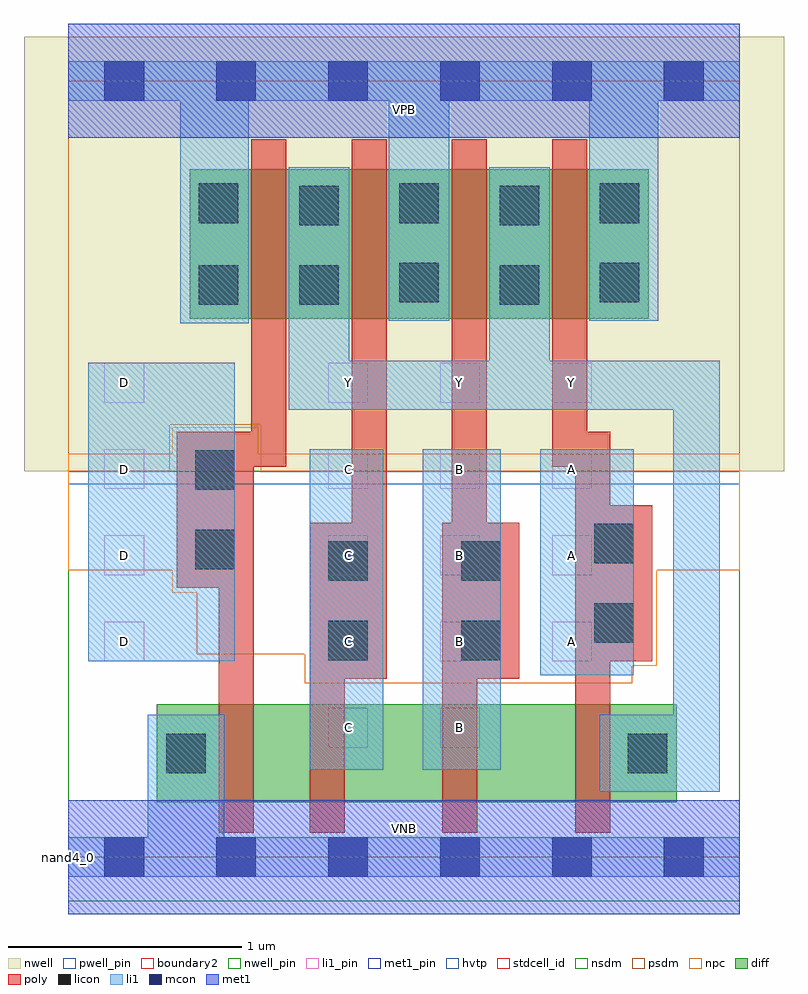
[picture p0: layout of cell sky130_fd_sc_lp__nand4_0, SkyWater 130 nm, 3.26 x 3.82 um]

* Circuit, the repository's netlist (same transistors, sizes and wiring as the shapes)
* Copyright 2020 The SkyWater PDK Authors
*
* Licensed under the Apache License, Version 2.0 (the "License");
* you may not use this file except in compliance with the License.
* You may obtain a copy of the License at
*
*     https://www.apache.org/licenses/LICENSE-2.0
*
* Unless required by applicable law or agreed to in writing, software
* distributed under the License is distributed on an "AS IS" BASIS,
* WITHOUT WARRANTIES OR CONDITIONS OF ANY KIND, either express or implied.
* See the License for the specific language governing permissions and
* limitations under the License.
*
* SPDX-License-Identifier: Apache-2.0

.SUBCKT sky130_fd_sc_lp__nand4_0 A B C D VGND VNB VPB VPWR Y
*.PININFO A:I B:I C:I D:I VGND:I VNB:I VPB:I VPWR:I Y:O
MMP0 Y A VPWR VPB sky130_fd_pr__pfet_01v8_hvt m=1 w=0.64U l=0.15U mult=1 sa=0.265
+ sb=0.265 sd=0.28 area=0.063 perim=1.14
MMP1 Y B VPWR VPB sky130_fd_pr__pfet_01v8_hvt m=1 w=0.64U l=0.15U mult=1 sa=0.265
+ sb=0.265 sd=0.28 area=0.063 perim=1.14
MMP3 Y D VPWR VPB sky130_fd_pr__pfet_01v8_hvt m=1 w=0.64U l=0.15U mult=1 sa=0.265
+ sb=0.265 sd=0.28 area=0.063 perim=1.14
MMP2 Y C VPWR VPB sky130_fd_pr__pfet_01v8_hvt m=1 w=0.64U l=0.15U mult=1 sa=0.265
+ sb=0.265 sd=0.28 area=0.063 perim=1.14
MMN0 Y A sndA VNB sky130_fd_pr__nfet_01v8 m=1 w=0.42U l=0.15U mult=1 sa=0.265 sb=0.265
+ sd=0.28 area=0.063 perim=1.14
MMN1 sndA B sndB VNB sky130_fd_pr__nfet_01v8 m=1 w=0.42U l=0.15U mult=1 sa=0.265
+ sb=0.265 sd=0.28 area=0.063 perim=1.14
MMN2 sndB C sndC VNB sky130_fd_pr__nfet_01v8 m=1 w=0.42U l=0.15U mult=1 sa=0.265
+ sb=0.265 sd=0.28 area=0.063 perim=1.14
MMN3 sndC D VGND VNB sky130_fd_pr__nfet_01v8 m=1 w=0.42U l=0.15U mult=1 sa=0.265
+ sb=0.265 sd=0.28 area=0.063 perim=1.14
.ENDS sky130_fd_sc_lp__nand4_0

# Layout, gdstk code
import gdstk
lib = gdstk.Library(unit=1e-6, precision=1e-09)
def R(c, l, rs):  # rectangles x0, y0, x1, y1
    for r in rs: c.add(gdstk.rectangle(r[:2], r[2:], *l))
def A(c, l, x, y, w, h, nx, ny, dx, dy):  # array of equal rectangles
    R(c, l, [(x+i*dx, y+j*dy, x+i*dx+w, y+j*dy+h) for i in range(nx) for j in range(ny)])
def P(c, l, *ps):  # polygons
    for p in ps: c.add(gdstk.Polygon(p, *l))
nwell_pin = (64, 16)
nwell = (64, 20)
diff = (65, 20)
poly = (66, 20)
licon = (66, 44)
li1_pin = (67, 16)
li1 = (67, 20)
mcon = (67, 44)
met1_pin = (68, 16)
met1 = (68, 20)
hvtp = (78, 44)
stdcell_id = (81, 4)
nsdm = (93, 44)
psdm = (94, 20)
npc = (95, 20)
pwell_pin = (122, 16)
boundary2 = (236, 0)

sky130_fd_sc_lp__nand4_0 = lib.new_cell('sky130_fd_sc_lp__nand4_0')
R(sky130_fd_sc_lp__nand4_0, nwell_pin, [(0,3.085,2.88,3.33)])
R(sky130_fd_sc_lp__nand4_0, nwell, [(-0.19,1.655,3.07,3.52)])
R(sky130_fd_sc_lp__nand4_0, diff, [(0.38,0.235,2.61,0.655), (0.52,2.31,2.49,2.95)])
P(sky130_fd_sc_lp__nand4_0, poly, [(0.935,3.08),(0.785,3.08),(0.785,1.825),(0.465,1.825),(0.465,1.155),(0.645,1.155),(0.645,0.105),(0.795,0.105),(0.795,1.675),(0.935,1.675)],
  [(1.365,3.08),(1.215,3.08),(1.215,1.435),(1.035,1.435),(1.035,0.105),(1.185,0.105),(1.185,0.765),(1.365,0.765)],
  [(1.935,1.435),(1.795,1.435),(1.795,3.08),(1.645,3.08),(1.645,1.435),(1.605,1.435),(1.605,0.105),(1.755,0.105),(1.755,0.765),(1.935,0.765)],
  [(2.505,1.51),(2.325,1.51),(2.325,1.825),(2.225,1.825),(2.225,3.08),(2.075,3.08),(2.075,1.675),(2.175,1.675),(2.175,0.105),(2.325,0.105),(2.325,0.84),(2.505,0.84)])
A(sky130_fd_sc_lp__nand4_0, licon, 0.56, 2.72, 0.17, 0.17, 3, 1, 0.86, 0)
R(sky130_fd_sc_lp__nand4_0, licon, [(0.42,0.36,0.59,0.53), (2.4,0.36,2.57,0.53), (1.115,0.845,1.285,1.015), (1.685,0.845,1.855,1.015), (2.255,0.92,2.425,1.09), (1.115,1.185,1.285,1.355), (1.685,1.185,1.855,1.355), (0.545,1.235,0.715,1.405), (2.255,1.26,2.425,1.43), (0.545,1.575,0.715,1.745), (0.56,2.37,0.73,2.54), (0.99,2.37,1.16,2.54), (1.85,2.37,2.02,2.54), (1.42,2.38,1.59,2.55), (2.28,2.38,2.45,2.55), (0.99,2.71,1.16,2.88), (1.85,2.71,2.02,2.88)])
A(sky130_fd_sc_lp__nand4_0, li1_pin, 0.155, 0.84, 0.17, 0.17, 1, 4, 0, 0.37)
A(sky130_fd_sc_lp__nand4_0, li1_pin, 1.115, 0.84, 0.17, 0.17, 3, 4, 0.48, 0.37)
R(sky130_fd_sc_lp__nand4_0, li1_pin, [(1.115,0.47,1.285,0.64), (1.595,0.47,1.765,0.64)])
R(sky130_fd_sc_lp__nand4_0, li1, [(1.035,0.375,1.35,1.75), (1.52,0.375,1.855,1.75), (2.025,0.78,2.425,1.75), (0.085,0.84,0.715,2.12)])
P(sky130_fd_sc_lp__nand4_0, li1, [(2.235,2.3),(2.235,3.245),(1.635,3.245),(1.635,2.3),(1.375,2.3),(1.375,3.245),(0.775,3.245),(0.775,2.29),(0.48,2.29),(0.48,3.245),(0,3.245),(0,3.415),(2.88,3.415),(2.88,3.245),(2.53,3.245),(2.53,2.3)],
  [(0.34,0.085),(0.34,0.61),(0.67,0.61),(0.67,0.085),(2.88,0.085),(2.88,-0.085),(0,-0.085),(0,0.085)],
  [(1.205,2.13),(1.805,2.13),(1.805,2.96),(2.065,2.96),(2.065,2.13),(2.795,2.13),(2.795,0.28),(2.28,0.28),(2.28,0.61),(2.595,0.61),(2.595,1.92),(0.945,1.92),(0.945,2.96),(1.205,2.96)])
A(sky130_fd_sc_lp__nand4_0, mcon, 0.155, -0.085, 0.17, 0.17, 6, 2, 0.48, 3.33)
R(sky130_fd_sc_lp__nand4_0, met1_pin, [(0,0,2.88,0.245), (0,3.085,2.88,3.33)])
R(sky130_fd_sc_lp__nand4_0, met1, [(0,-0.245,2.88,0.245), (0,3.085,2.88,3.575)])
R(sky130_fd_sc_lp__nand4_0, hvtp, [(0,1.6,2.88,3.33)])
R(sky130_fd_sc_lp__nand4_0, stdcell_id, [(0,0,2.88,3.33)])
R(sky130_fd_sc_lp__nand4_0, nsdm, [(0,-0.19,2.88,1.655)])
P(sky130_fd_sc_lp__nand4_0, psdm, [(2.88,3.52),(0,3.52),(0,1.655),(0.435,1.655),(0.435,1.855),(0.825,1.855),(0.825,1.655),(2.88,1.655)])
P(sky130_fd_sc_lp__nand4_0, npc, [(2.88,1.73),(0.815,1.73),(0.815,1.845),(0.445,1.845),(0.445,1.73),(0,1.73),(0,1.23),(0.445,1.23),(0.445,1.135),(0.55,1.135),(0.55,0.87),(1.015,0.87),(1.015,0.745),(2.42,0.745),(2.42,0.82),(2.525,0.82),(2.525,1.23),(2.88,1.23)])
R(sky130_fd_sc_lp__nand4_0, pwell_pin, [(0,0,2.88,0.245)])
R(sky130_fd_sc_lp__nand4_0, boundary2, [(0,0,2.88,3.33)])
sky130_fd_sc_lp__nand4_0.add(gdstk.Label('VNB', (1.44,0.123), layer=64, texttype=59))
sky130_fd_sc_lp__nand4_0.add(gdstk.Label('VPB', (1.44,3.208), layer=64, texttype=5))
sky130_fd_sc_lp__nand4_0.add(gdstk.Label('nand4_0', (0,0), layer=83, texttype=44))
sky130_fd_sc_lp__nand4_0.add(gdstk.Label('VPWR', (1.44,3.208), layer=68, texttype=5))
sky130_fd_sc_lp__nand4_0.add(gdstk.Label('VGND', (1.44,0.123), layer=68, texttype=5))
sky130_fd_sc_lp__nand4_0.add(gdstk.Label('A', (2.16,0.925), layer=67, texttype=5))
sky130_fd_sc_lp__nand4_0.add(gdstk.Label('A', (2.16,1.295), layer=67, texttype=5))
sky130_fd_sc_lp__nand4_0.add(gdstk.Label('A', (2.16,1.665), layer=67, texttype=5))
sky130_fd_sc_lp__nand4_0.add(gdstk.Label('B', (1.68,0.555), layer=67, texttype=5))
sky130_fd_sc_lp__nand4_0.add(gdstk.Label('B', (1.68,0.925), layer=67, texttype=5))
sky130_fd_sc_lp__nand4_0.add(gdstk.Label('B', (1.68,1.295), layer=67, texttype=5))
sky130_fd_sc_lp__nand4_0.add(gdstk.Label('B', (1.68,1.665), layer=67, texttype=5))
sky130_fd_sc_lp__nand4_0.add(gdstk.Label('C', (1.2,0.555), layer=67, texttype=5))
sky130_fd_sc_lp__nand4_0.add(gdstk.Label('C', (1.2,0.925), layer=67, texttype=5))
sky130_fd_sc_lp__nand4_0.add(gdstk.Label('C', (1.2,1.295), layer=67, texttype=5))
sky130_fd_sc_lp__nand4_0.add(gdstk.Label('C', (1.2,1.665), layer=67, texttype=5))
sky130_fd_sc_lp__nand4_0.add(gdstk.Label('D', (0.24,0.925), layer=67, texttype=5))
sky130_fd_sc_lp__nand4_0.add(gdstk.Label('D', (0.24,1.295), layer=67, texttype=5))
sky130_fd_sc_lp__nand4_0.add(gdstk.Label('D', (0.24,1.665), layer=67, texttype=5))
sky130_fd_sc_lp__nand4_0.add(gdstk.Label('D', (0.24,2.035), layer=67, texttype=5))
sky130_fd_sc_lp__nand4_0.add(gdstk.Label('Y', (1.2,2.035), layer=67, texttype=5))
sky130_fd_sc_lp__nand4_0.add(gdstk.Label('Y', (1.68,2.035), layer=67, texttype=5))
sky130_fd_sc_lp__nand4_0.add(gdstk.Label('Y', (2.16,2.035), layer=67, texttype=5))

lib.write_gds('sky130_fd_sc_lp__nand4_0.gds')
